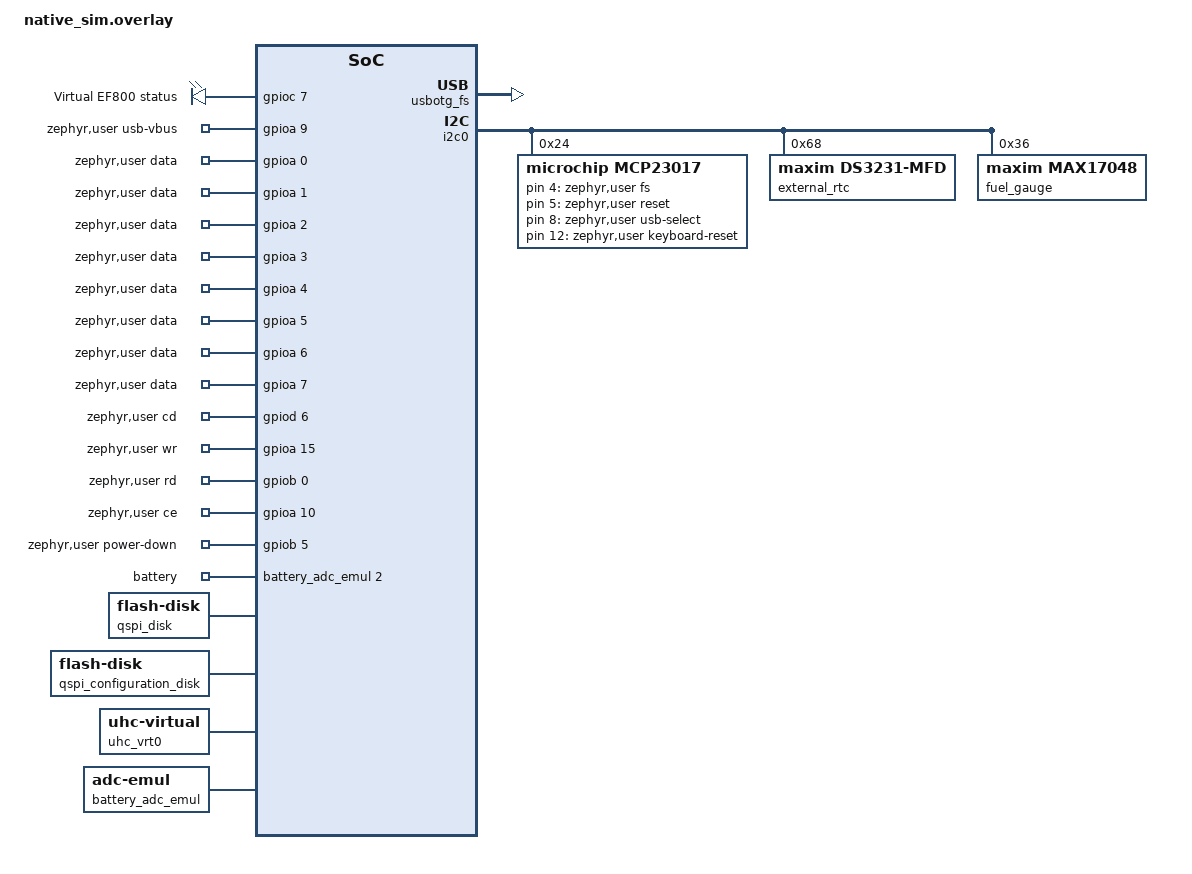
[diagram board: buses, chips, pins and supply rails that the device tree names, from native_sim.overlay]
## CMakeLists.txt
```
# SPDX-License-Identifier: Apache-2.0
cmake_minimum_required(VERSION 3.28.0)

set(BOARD_ROOT ${CMAKE_CURRENT_LIST_DIR}/../..)
set(DTS_ROOT ${CMAKE_CURRENT_LIST_DIR}/../..)
set(PLUGIN_MANAGER_DIR "${CMAKE_CURRENT_LIST_DIR}/../../../modules/lib/PluginManager" CACHE PATH
	"PluginManager source directory")
if(NOT EXISTS "${PLUGIN_MANAGER_DIR}/zephyr/module.yml")
	message(FATAL_ERROR "PLUGIN_MANAGER_DIR is not a PluginManager source tree")
endif()
list(APPEND ZEPHYR_EXTRA_MODULES "${PLUGIN_MANAGER_DIR}")
set(KCONFIG_ROOT ${CMAKE_CURRENT_LIST_DIR}/Kconfig)

if(BOARD STREQUAL "native_sim")
	set(DTC_OVERLAY_FILE ${CMAKE_CURRENT_LIST_DIR}/native_sim.overlay)
else()
	set(DTC_OVERLAY_FILE
		${CMAKE_CURRENT_LIST_DIR}/app.overlay
		${CMAKE_CURRENT_LIST_DIR}/boards/ef800-sram.overlay)
endif()

find_package(Zephyr REQUIRED HINTS $ENV{ZEPHYR_BASE})
project(ef800_main)

if(CONFIG_EF800_MAIN_PLUGIN_RECOVERY_TEST_DIRECTORY)
	# The recovery-test volume contains exactly the fault and healthy fixtures.
	# Keep PluginManager's otherwise-large default discovery table bounded in
	# this dedicated image so it fits the L496 malloc arena.
	zephyr_compile_definitions(PM_MANAGER_MAX_DISCOVERED=9)
	elseif(BOARD STREQUAL "ef800")
	# Keep PluginManager's fixed discovery table bounded while supporting the
	# two serial instruments and the port-free dummy calculation package.
	zephyr_compile_definitions(PM_MANAGER_MAX_DISCOVERED=3)
endif()

include(${CMAKE_CURRENT_LIST_DIR}/ef800-main-sources.cmake)
list(LENGTH EF800_MAIN_COMMON_SOURCES EF800_MAIN_COMMON_SOURCE_COUNT)
message(STATUS "EF800 common production source manifest: ${EF800_MAIN_COMMON_SOURCE_COUNT} sources")
target_sources(app PRIVATE ${EF800_MAIN_COMMON_SOURCES})
target_include_directories(app PRIVATE ${EF800_MAIN_COMMON_INCLUDE_DIRS})

if(BOARD STREQUAL "native_sim")
	target_compile_definitions(app PRIVATE PM_MANAGER_MAX_DISCOVERED=16)
	set(CGROM_SOURCE ${CMAKE_CURRENT_LIST_DIR}/../../docs/CG_RAM0101.txt)
	set(CGROM_HEADER ${CMAKE_CURRENT_BINARY_DIR}/generated/cgrom_0101.h)
	add_custom_command(
		OUTPUT ${CGROM_HEADER}
		COMMAND ${Python3_EXECUTABLE} ${CMAKE_CURRENT_LIST_DIR}/../tlx-711a/tools/generate_cgrom.py
			${CGROM_SOURCE} ${CGROM_HEADER}
		DEPENDS ${CGROM_SOURCE} ${CMAKE_CURRENT_LIST_DIR}/../tlx-711a/tools/generate_cgrom.py
	)
	add_custom_target(ef800_main_cgrom DEPENDS ${CGROM_HEADER})
	add_dependencies(app ef800_main_cgrom)
	target_include_directories(app PRIVATE ${CMAKE_CURRENT_BINARY_DIR}/generated)

		target_sources(app PRIVATE
		${CMAKE_CURRENT_LIST_DIR}/../../shared/ef800_ports/ef800_console_usb.c
		${CMAKE_CURRENT_LIST_DIR}/../../shared/ef800_ports/ef800_main_usb_msc_native.c
		${CMAKE_CURRENT_LIST_DIR}/../../shared/ef800_ports/ef800_main_usb_mtp.c
		${CMAKE_CURRENT_LIST_DIR}/../../shared/virtual_ef800/usb/virtual_ef800_usb_peer.c
		${CMAKE_CURRENT_LIST_DIR}/../../shared/ef800_watchdog/ef800_watchdog_native.c
		${CMAKE_CURRENT_LIST_DIR}/../../shared/virtual_ef800/keyboard/virtual_ef800_keyboard_controller.c
		${CMAKE_CURRENT_LIST_DIR}/../../shared/virtual_ef800/gpio/virtual_ef800_mcp23017.c
		${CMAKE_CURRENT_LIST_DIR}/../../shared/virtual_ef800/rtc/virtual_ef800_ds3231.c
		${CMAKE_CURRENT_LIST_DIR}/../../shared/virtual_ef800/gpio/virtual_ef800_gpio_emul.c
		${CMAKE_CURRENT_LIST_DIR}/../../shared/virtual_ef800/display/virtual_ef800_t6963_bus.c
		${CMAKE_CURRENT_LIST_DIR}/../../shared/virtual_ef800/gpio/virtual_ef800_wiring.c
		${CMAKE_CURRENT_LIST_DIR}/../../shared/virtual_ef800/frontpanel/virtual_ef800_frontpanel_bridge.c
		${CMAKE_CURRENT_LIST_DIR}/../../shared/virtual_ef800/serial/virtual_ef800_serial_peers.c
		${CMAKE_CURRENT_LIST_DIR}/../../shared/virtual_ef800/profile/virtual_ef800_profile.c
		${CMAKE_CURRENT_LIST_DIR}/../../shared/virtual_ef800/battery/virtual_ef800_battery.c
		${CMAKE_CURRENT_LIST_DIR}/../../shared/virtual_ef800/display/virtual_ef800_display.c
		${CMAKE_CURRENT_LIST_DIR}/../../shared/virtual_ef800/frontpanel/virtual_ef800_frontpanel.c
		${CMAKE_CURRENT_LIST_DIR}/../../shared/virtual_ef800/log/virtual_ef800_log.c
		${CMAKE_CURRENT_LIST_DIR}/../../shared/virtual_ef800/protocol/virtual_ef800_protocol.c
		${CMAKE_CURRENT_LIST_DIR}/../../shared/virtual_ef800/keyboard/virtual_ef800_keyboard.c
		${CMAKE_CURRENT_LIST_DIR}/../../application/ef800-keyboard/src/keyboard_key_names.c
		${CMAKE_CURRENT_LIST_DIR}/../../application/tlx-711a/src/t6963_emulator.c
	)
	target_include_directories(app PRIVATE
		${CMAKE_CURRENT_LIST_DIR}/../../shared/virtual_ef800
		${CMAKE_CURRENT_LIST_DIR}/../../shared/virtual_ef800/keyboard
		${CMAKE_CURRENT_LIST_DIR}/../../shared/virtual_ef800/display
		${CMAKE_CURRENT_LIST_DIR}/../../shared/virtual_ef800/frontpanel
		${CMAKE_CURRENT_LIST_DIR}/../../shared/virtual_ef800/log
		${CMAKE_CURRENT_LIST_DIR}/../../shared/virtual_ef800/protocol
		${CMAKE_CURRENT_LIST_DIR}/../../application/ef800-keyboard/src
		${CMAKE_CURRENT_LIST_DIR}/../../application/tlx-711a/src
		${CMAKE_CURRENT_LIST_DIR}/../../shared/virtual_ef800/usb
		${CMAKE_CURRENT_LIST_DIR}/../../shared/virtual_ef800/battery
		${CMAKE_CURRENT_LIST_DIR}/../../shared/virtual_ef800/core
		${CMAKE_CURRENT_LIST_DIR}/../../shared/virtual_ef800/gpio
		${CMAKE_CURRENT_LIST_DIR}/../../shared/virtual_ef800/profile
		${CMAKE_CURRENT_LIST_DIR}/../../shared/virtual_ef800/rtc
		${CMAKE_CURRENT_LIST_DIR}/../../shared/virtual_ef800/serial
		${ZEPHYR_BASE}/subsys/usb/host
	)
else()
	target_sources(app PRIVATE
		${CMAKE_CURRENT_LIST_DIR}/../../shared/ef800_lcd_contrast/ef800_lcd_contrast_stm32.c
		${CMAKE_CURRENT_LIST_DIR}/../../shared/ef800_ports/ef800_console_usb.c
		${CMAKE_CURRENT_LIST_DIR}/../../shared/ef800_ports/ef800_main_usb_msc.c
		${CMAKE_CURRENT_LIST_DIR}/../../shared/ef800_ports/ef800_main_usb_mtp.c
		${CMAKE_CURRENT_LIST_DIR}/../../shared/ef800_watchdog/ef800_watchdog.c
	)
endif()
```

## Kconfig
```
# SPDX-License-Identifier: Apache-2.0

menu "EF800 MainApplication foundation"

config EF800_MAIN_PLUGIN_DEV_DIRECT_EXECUTION
	bool "Allow trusted development plugins to execute inline"
	default n
	help
	  Keep the legacy inline callback executor available for native_sim and
	  explicitly trusted development packages. This is not an isolation mode.
	  Production external package execution must remain disabled until the
	  unprivileged worker and mediated service gateway are enabled and qualified.

config EF800_MAIN_PLUGIN_WORKER_STACK_SIZE
	int "Plugin worker stack size"
	default 2048
	range 1024 8192
	depends on USERSPACE || BOARD_NATIVE_SIM
	help
	  Stack allocation for the single serialized external-plugin worker. The
	  physical EF800 worker receives MPU protection; native_sim uses this same
	  worker ABI without hardware-enforced memory isolation.

config EF800_MAIN_PLUGIN_USER_WORKER
	bool "Run external plugins on the worker ABI"
	default y if BOARD_NATIVE_SIM
	default n
	depends on ((BOARD_EF800 && USERSPACE) || BOARD_NATIVE_SIM) && \
		!EF800_MAIN_PLUGIN_DEV_DIRECT_EXECUTION
	help
	  Execute external plugin callbacks through the versioned worker ABI and
	  mediated host services. EF800 additionally runs the worker unprivileged
	  with MPU-constrained memory; native_sim emulates the worker protocol but
	  does not provide MPU isolation. This is not package-authenticity or release
	  qualification.

config EF800_MAIN_SRAM_TEST_FAIL
	bool "Force external SRAM validation failure for fallback testing"
	default n
	depends on BOARD_EF800
	help
	  Test-only fault injection. Forces the startup validator to reject external
	  SRAM so the internal-only startup path can be exercised on target. Never
	  enable in a product image.

config EF800_MAIN_FORCE_CONSOLE_FALLBACK
	bool "Force fallback console during assignment repair testing"
	default n
	depends on BOARD_EF800
	help
	  Test-only recovery option. Keeps the console on its configured fallback
	  UART while persisted port assignments are repaired. Never enable in a
	  product image.

config EF800_MAIN_PLUGIN_RECOVERY_TEST_DIRECTORY
	bool "Scan the recovery-test package directory in Shared Data"
	default n
	depends on EF800_MAIN_PLUGIN_USER_WORKER
	help
	  Test-only override that scans /DATA:/data/EF800-recovery-test instead of
	  the normal Plugins directory. Use only with a dedicated recovery-test
	  image and synthetic packages; never enable in a product build.

config EF800_MAIN_PROBE_FUEL_GAUGE_AT_STARTUP
	bool "Probe MAX17048 once from runtime battery sampling"
	default y
	help
		Perform one deferred fuel-gauge probe from the runtime battery worker
		after MainApplication initialization. A missing gauge is left unavailable
		until restart; it is not retried during the current boot. Disable this
		when the target has no supported fuel-gauge source.

config EF800_MAIN_STORAGE_FORMAT_ON_MOUNT_FAILURE
	bool "Format the QSPI storage after a mount failure"
	default n

config EF800_MAIN_KEYBOARD_STARTUP_TIMEOUT_MS
	int "Keyboard startup timeout (ms)"
	default 3000
	range 1 60000
	help
	  Maximum time the MainApplication waits for the keyboard's initialized
	  indication before continuing with the rest of the foundation.

config EF800_MAIN_WATCHDOG_TIMEOUT_MS
	int "Watchdog timeout (ms)"
	default 1000
	range 1 26214
	help
	  Maximum watchdog window used by the foundation watchdog task.

config EF800_MAIN_WATCHDOG_FEED_MS
	int "Watchdog feed period (ms)"
	default 100
	range 1 26214
	help
	  Period between watchdog feeds. Keep this below the watchdog timeout.

config EF800_MAIN_WATCHDOG_STACK_SIZE
	int "Watchdog task stack size"
	default 768
	range 512 4096

config EF800_USB_VID
	hex "MainApplication USB vendor ID"
	default 0x2fe3

config EF800_USB_PID
	hex "MainApplication USB product ID"
	default 0xef81

config EF800_MAIN_LCD_STATUS_TIMEOUT_US
	int "T6963 status polling timeout (us)"
	default 1000
	range 100 100000
	help
	  Maximum time spent polling the T6963 ready bits for one bus operation.
	  A bounded timeout keeps a missing or disconnected LCD from blocking the
	  MainApplication forever.

config EF800_MAIN_RUNTIME_RTC_PERIOD_MS
	int "Runtime RTC sample period (ms)"
	default 1000
	range 100 60000

config EF800_MAIN_RUNTIME_BATTERY_PERIOD_MS
	int "Runtime battery sample period (ms)"
	default 10000
	range 1000 600000

config EF800_MAIN_STORAGE_FORMAT_ON_MOUNT_FAILURE
	bool "Format storage after mount failure"
	default n
	help
	  Format and retry the EF800 FAT volume when the initial mount fails.
	  Keep disabled for physical targets so a mount failure never formats a
	  fitted volume. Native simulation may enable this for disposable storage.

config EF800_MAIN_REFORMAT_LEGACY_QSPI
	bool "Reformat a detected legacy QSPI layout"
	default n
	help
	  If the QSPI sector-zero signature identifies the prior monolithic FAT
	  layout, format the new Configuration and Shared Data FAT partitions and
	  initialize the boot-state NVS partition. This destroys all contents of
	  the old volume. Enable only on development targets known to contain no
	  required data; keep disabled for production firmware.

config EF800_MAIN_FORMAT_BLANK_QSPI
	bool "Provision FAT volumes on an erased QSPI device"
	default n
	depends on FS_FATFS_MKFS
	help
	  On development hardware only, create the Configuration and Shared Data
	  FAT volumes when neither FAT partition contains a valid boot sector. The
	  formatter verifies both raw boot sectors before erasing boot-state NVS or
	  allowing normal mounts. This destroys unrecognized contents; disable for
	  production firmware.

config EF800_MCUMGR_SERIAL_TRANSPORT
	bool
	default y
	select MCUMGR_TRANSPORT_SERIAL_HAS_RAW_BINARY_NON_SMP_OVER_CONSOLE

endmenu

source "Kconfig.zephyr"
```

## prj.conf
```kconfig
# SPDX-License-Identifier: Apache-2.0
CONFIG_GPIO=y
CONFIG_SERIAL=y
CONFIG_UART_INTERRUPT_DRIVEN=y
CONFIG_UART_USE_RUNTIME_CONFIGURE=y
CONFIG_FLASH=y
CONFIG_FLASH_MAP=y
CONFIG_FLASH_PAGE_LAYOUT=y
CONFIG_DISK_DRIVERS=y
CONFIG_DISK_DRIVER_FLASH=y
CONFIG_FILE_SYSTEM=y
CONFIG_FAT_FILESYSTEM_ELM=y
CONFIG_FS_FATFS_LFN=y
CONFIG_FS_FATFS_LFN_MODE_STACK=y
CONFIG_FS_FATFS_REENTRANT=y
CONFIG_NVS=y
CONFIG_NVS_DATA_CRC=y
CONFIG_I2C=y
CONFIG_ADC=y
CONFIG_GPIO_MCP230XX=y
CONFIG_MFD=y
CONFIG_RTC_DS3231=y
CONFIG_WATCHDOG=y
CONFIG_RTC=y
CONFIG_SHELL=y
CONFIG_SHELL_BACKEND_SERIAL=n
CONFIG_SHELL_STACK_SIZE=8192
CONFIG_NET_BUF=y
CONFIG_ZCBOR=y
CONFIG_BASE64=y
CONFIG_CRC=y
CONFIG_PLUGIN_MANAGER=y
CONFIG_PLUGIN_MANAGER_ZEPHYR_FS=y
CONFIG_APPLICATION_DEFINED_SYSCALL=y
CONFIG_MCUMGR=y
CONFIG_MCUMGR_GRP_FS=y
CONFIG_MCUMGR_TRANSPORT_SHELL=y
CONFIG_MCUMGR_TRANSPORT_NETBUF_SIZE=512
CONFIG_MCUMGR_TRANSPORT_NETBUF_COUNT=8
CONFIG_MCUMGR_GRP_FS_PATH_LEN=64
CONFIG_MAIN_STACK_SIZE=8192
CONFIG_REBOOT=y

# Zephyr logging uses the board console (USART1); the keyboard protocol stays
# on the separate lpuart1 link.
CONFIG_LOG=y
CONFIG_UART_CONSOLE=n
CONFIG_LOG_BACKEND_UART=n
CONFIG_LOG_MODE_IMMEDIATE=y
CONFIG_BOOT_BANNER=y
CONFIG_LOG_DEFAULT_LEVEL=3

# The service never formats the external FAT volume on a mount failure.
CONFIG_FS_FATFS_MOUNT_MKFS=n
CONFIG_EF800_MAIN_STORAGE_FORMAT_ON_MOUNT_FAILURE=y
CONFIG_FILE_SYSTEM_MKFS=y
CONFIG_FS_FATFS_MKFS=y
# Development migration only; set to n before producing production firmware.
CONFIG_EF800_MAIN_REFORMAT_LEGACY_QSPI=y

# The keyboard link is a binary protocol, not a console.
```

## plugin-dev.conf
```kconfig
# SPDX-License-Identifier: Apache-2.0
# DEVELOPMENT-ONLY: permits trusted local PluginManager packages to execute
# inline while the isolated worker/W^X and package-signature gates are pending.
# This is not an isolation boundary. Never use with untrusted PMP files.
CONFIG_EF800_MAIN_PLUGIN_DEV_DIRECT_EXECUTION=y
CONFIG_ARM_MPU=n
CONFIG_MPU_STACK_GUARD=n
```

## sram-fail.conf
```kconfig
# Test-only MainApplication profile for on-target external-SRAM fallback checks.
CONFIG_EF800_MAIN_SRAM_TEST_FAIL=y
CONFIG_EF800_MAIN_FORCE_CONSOLE_FALLBACK=y
```

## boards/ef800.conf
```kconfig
# SPDX-License-Identifier: Apache-2.0
CONFIG_USB_DEVICE_STACK_NEXT=y
CONFIG_USBD_MSC_CLASS=y
CONFIG_USBD_MSC_LUNS_PER_INSTANCE=1
CONFIG_USBD_MSC_SCSI_BUFFER_SIZE=512
CONFIG_USBD_CDC_ACM_CLASS=y
CONFIG_USBD_MTP_CLASS=y
CONFIG_USBD_MTP_MAX_HANDLES=12
CONFIG_USBD_MTP_STORAGES_PER_INSTANCE=3
CONFIG_USBD_THREAD_STACK_SIZE=4096
CONFIG_EF800_USB_VID=0x2fe3
CONFIG_EF800_USB_PID=0xef87
CONFIG_IWDG_STM32_INITIAL_TIMEOUT=10000
CONFIG_PINCTRL=y
CONFIG_CLOCK_CONTROL=y
CONFIG_MEMC=y
CONFIG_RESET=y
CONFIG_EF800_MAIN_WATCHDOG_TIMEOUT_MS=10000
CONFIG_EF800_MAIN_PROBE_FUEL_GAUGE_AT_STARTUP=y
CONFIG_USE_DT_CODE_PARTITION=y
CONFIG_USERSPACE=y
CONFIG_ARM_MPU=y
CONFIG_MPU_STACK_GUARD=y
CONFIG_HW_STACK_PROTECTION=y
CONFIG_EXECUTE_XOR_WRITE=y
CONFIG_THREAD_STACK_INFO=y
CONFIG_THREAD_MONITOR=y
CONFIG_INIT_STACKS=y
CONFIG_EXCEPTION_DEBUG=y
CONFIG_EF800_MAIN_PLUGIN_USER_WORKER=y
# PluginManager scans by allocating a complete package buffer. Reserve enough
# libc arena for the manager plus the current independently packaged devices.
CONFIG_COMMON_LIBC_MALLOC_ARENA_SIZE=32768
CONFIG_CONSOLE=n
```

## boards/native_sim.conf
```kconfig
# SPDX-License-Identifier: Apache-2.0
CONFIG_EMUL=y
CONFIG_UART_EMUL=y
CONFIG_I2C_EMUL=y
CONFIG_ADC_EMUL=y
CONFIG_FILE_SYSTEM_MKFS=y
CONFIG_FS_FATFS_MKFS=y
CONFIG_FUEL_GAUGE=y
CONFIG_MAX17048=y
CONFIG_EMUL_MAX17048=y
CONFIG_CONSOLE=y
CONFIG_USE_DT_CODE_PARTITION=n
CONFIG_EF800_MAIN_STORAGE_FORMAT_ON_MOUNT_FAILURE=y
CONFIG_HEAP_MEM_POOL_SIZE=65536
CONFIG_EF800_MAIN_PLUGIN_DEV_DIRECT_EXECUTION=n
CONFIG_EF800_MAIN_PLUGIN_USER_WORKER=y
CONFIG_USB_DEVICE_STACK_NEXT=y
CONFIG_USB_HOST_STACK=y
CONFIG_USBD_CDC_ACM_CLASS=y
CONFIG_USBD_MTP_CLASS=y
CONFIG_USBD_MTP_MAX_HANDLES=12
CONFIG_USBD_MTP_STORAGES_PER_INSTANCE=3
CONFIG_USBD_THREAD_STACK_SIZE=4096
CONFIG_USBH_STACK_SIZE=4096
CONFIG_UDC_VIRTUAL_STACK_SIZE=2048
```

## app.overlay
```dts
/ {
	chosen {
		zephyr,keyboard-uart = &lpuart1;
		zephyr,code-partition = &main_partition;
	};

	aliases {
		status-led = &status_led;
	};

	zephyr,user {
		/* USB VBUS detection controls the QSPI-to-MSC ownership handoff. */
		usb-vbus-gpios = <&gpioa 9 GPIO_ACTIVE_HIGH>;
		/* T6963 legacy parallel data bus, PA0..PA7. */
		data-gpios = <&gpioa 0 0>, <&gpioa 1 0>, <&gpioa 2 0>,
				     <&gpioa 3 0>, <&gpioa 4 0>, <&gpioa 5 0>,
				     <&gpioa 6 0>, <&gpioa 7 0>;
		cd-gpios = <&gpiod 6 0>;
		wr-gpios = <&gpioa 15 0>;
		rd-gpios = <&gpiob 0 0>;
		ce-gpios = <&gpioa 10 0>;
		fs-gpios = <&mcp23017 4 0>;
		reset-gpios = <&mcp23017 5 0>;
		pixels-horizontal = <240>;
		pixels-vertical = <64>;
		font-width = <6>;
		memory-kb = <8>;
		usb-select-gpios = <&mcp23017 8 0>;
		keyboard-reset-gpios = <&mcp23017 12 0>;
		/* JP7 to keyboard PB12; assert low only for bootloader fallback. */
		keyboard-updater-request-gpios = <&gpioe 0 GPIO_ACTIVE_LOW>;
		power-down-gpios = <&gpiob 5 0>;
		io-channels = <&adc1 2>;
		io-channel-names = "battery";
	};
};

#include <zephyr/dt-bindings/pinctrl/stm32-pinctrl.h>
#include <zephyr/dt-bindings/gpio/gpio.h>
#include <zephyr/dt-bindings/adc/adc.h>

&pinctrl {
	battery_adc_pc1: battery_adc_pc1 {
		pinmux = <STM32_PINMUX('C', 1, ANALOG)>;
		bias-disable;
	};

	usart1_tx_pb6: usart1_tx_pb6 {
		pinmux = <STM32_PINMUX('B', 6, AF7)>;
		bias-pull-up;
		drive-push-pull;
	};

	usart1_rx_pb7: usart1_rx_pb7 {
		pinmux = <STM32_PINMUX('B', 7, AF7)>;
		bias-pull-up;
	};

	usart3_tx_pd8: usart3_tx_pd8 {
		pinmux = <STM32_PINMUX('D', 8, AF7)>;
		bias-pull-up;
		drive-push-pull;
	};

	usart3_rx_pd9: usart3_rx_pd9 {
		pinmux = <STM32_PINMUX('D', 9, AF7)>;
		bias-pull-up;
	};

	lpuart1_tx_pg7: lpuart1_tx_pg7 {
		pinmux = <STM32_PINMUX('G', 7, AF8)>;
		bias-pull-up;
		drive-push-pull;
	};

	lpuart1_rx_pc0: lpuart1_rx_pc0 {
		pinmux = <STM32_PINMUX('C', 0, AF8)>;
		bias-pull-up;
	};

	quadspi_clk_pf10: quadspi_clk_pf10 {
		pinmux = <STM32_PINMUX('F', 10, AF3)>;
	};

	quadspi_bk1_ncs_pe11: quadspi_bk1_ncs_pe11 {
		pinmux = <STM32_PINMUX('E', 11, AF10)>;
	};

	quadspi_bk1_io0_pf8: quadspi_bk1_io0_pf8 {
		pinmux = <STM32_PINMUX('F', 8, AF10)>;
	};

	quadspi_bk1_io1_pf9: quadspi_bk1_io1_pf9 {
		pinmux = <STM32_PINMUX('F', 9, AF10)>;
	};

	quadspi_bk1_io2_pf7: quadspi_bk1_io2_pf7 {
		pinmux = <STM32_PINMUX('F', 7, AF10)>;
	};

	quadspi_bk1_io3_pf6: quadspi_bk1_io3_pf6 {
		pinmux = <STM32_PINMUX('F', 6, AF10)>;
	};

	usb_otg_fs_dm_pa11: usb_otg_fs_dm_pa11 {
		pinmux = <STM32_PINMUX('A', 11, AF10)>;
	};

	usb_otg_fs_dp_pa12: usb_otg_fs_dp_pa12 {
		pinmux = <STM32_PINMUX('A', 12, AF10)>;
	};

};

&adc1 {
	pinctrl-0 = <&battery_adc_pc1>;
	pinctrl-names = "default";
	st,adc-clock-source = "SYNC";
	st,adc-prescaler = <4>;
	status = "okay";
	#address-cells = <1>;
	#size-cells = <0>;

	channel@2 {
		reg = <2>;
		zephyr,gain = "ADC_GAIN_1";
		zephyr,reference = "ADC_REF_INTERNAL";
		zephyr,acquisition-time = <ADC_ACQ_TIME_MAX>;
		zephyr,resolution = <12>;
	};
};

&clk_hse {
	clock-frequency = <DT_FREQ_M(25)>;
	status = "okay";
};

&clk_hsi {
	status = "disabled";
};

&pll {
	div-m = <5>;
	mul-n = <32>;
	div-p = <2>;
	div-q = <2>;
	div-r = <2>;
	clocks = <&clk_hse>;
	status = "okay";
};

&rcc {
	clocks = <&pll>;
	clock-frequency = <DT_FREQ_M(80)>;
	ahb-prescaler = <1>;
	apb1-prescaler = <1>;
	apb2-prescaler = <1>;
};

&usbotg_fs {
	pinctrl-0 = <&usb_otg_fs_dm_pa11 &usb_otg_fs_dp_pa12>;
	pinctrl-names = "default";
	status = "okay";

	cdc_acm_uart0: cdc_acm_uart0 {
		compatible = "zephyr,cdc-acm-uart";
		label = "EF800 USB CDC ACM";
		rx-fifo-size = <256>;
		tx-fifo-size = <256>;
	};
};

/* Use the standard Zephyr DS3231 MFD/RTC split without changing the board DTS. */
&external_rtc {
	compatible = "maxim,ds3231-mfd";
	status = "okay";

	ef800_rtc: rtc {
		compatible = "maxim,ds3231-rtc";
		/* Required by the standard binding; alarms/updates stay disabled. */
		isw-gpios = <&gpioc 6 GPIO_ACTIVE_LOW>;
		status = "okay";
	};
};
```

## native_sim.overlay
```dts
#include <zephyr/dt-bindings/adc/adc.h>

/ {
	chosen {
		zephyr,keyboard-uart = &lpuart1;
		zephyr,code-partition = &slot0_partition;
	};

	aliases {
		status-led = &status_led;
	};

	leds {
		compatible = "gpio-leds";

		status_led: status_led {
			gpios = <&gpioc 7 GPIO_ACTIVE_HIGH>;
			label = "Virtual EF800 status";
		};
	};

	zephyr,user {
		usb-vbus-gpios = <&gpioa 9 GPIO_ACTIVE_HIGH>;
		data-gpios = <&gpioa 0 0>, <&gpioa 1 0>, <&gpioa 2 0>,
				     <&gpioa 3 0>, <&gpioa 4 0>, <&gpioa 5 0>,
				     <&gpioa 6 0>, <&gpioa 7 0>;
		cd-gpios = <&gpiod 6 0>;
		wr-gpios = <&gpioa 15 0>;
		rd-gpios = <&gpiob 0 0>;
		ce-gpios = <&gpioa 10 0>;
		fs-gpios = <&mcp23017 4 0>;
		reset-gpios = <&mcp23017 5 0>;
		pixels-horizontal = <240>;
		pixels-vertical = <64>;
		font-width = <6>;
		memory-kb = <8>;
		usb-select-gpios = <&mcp23017 8 0>;
		keyboard-reset-gpios = <&mcp23017 12 0>;
		power-down-gpios = <&gpiob 5 0>;
		io-channels = <&battery_adc_emul 2>;
		io-channel-names = "battery";
	};

	gpioa: gpioa {
		compatible = "jaster,ef800-gpio-emul";
		gpio-controller;
		#gpio-cells = <2>;
		ngpios = <32>;
		rising-edge;
		falling-edge;
		high-level;
		low-level;
		status = "okay";
	};

	gpiob: gpiob {
		compatible = "jaster,ef800-gpio-emul";
		gpio-controller;
		#gpio-cells = <2>;
		ngpios = <32>;
		rising-edge;
		falling-edge;
		high-level;
		low-level;
		status = "okay";
	};

	gpioc: gpioc {
		compatible = "jaster,ef800-gpio-emul";
		gpio-controller;
		#gpio-cells = <2>;
		ngpios = <32>;
		rising-edge;
		falling-edge;
		high-level;
		low-level;
		status = "okay";
	};

	gpiod: gpiod {
		compatible = "jaster,ef800-gpio-emul";
		gpio-controller;
		#gpio-cells = <2>;
		ngpios = <32>;
		rising-edge;
		falling-edge;
		high-level;
		low-level;
		status = "okay";
	};

	qspi_disk: qspi_disk {
		compatible = "zephyr,flash-disk";
		partition = <&qspi_storage_partition>;
		disk-name = "DATA";
		sector-size = <512>;
		cache-size = <4096>;
		status = "okay";
	};

	qspi_configuration_disk: qspi_configuration_disk {
		compatible = "zephyr,flash-disk";
		partition = <&qspi_configuration_partition>;
		disk-name = "EF800";
		sector-size = <512>;
		cache-size = <4096>;
		status = "okay";
	};

	uhc_vrt0: uhc_vrt0 {
		compatible = "zephyr,uhc-virtual";
		status = "okay";

		usbotg_fs: usbotg_fs {
			compatible = "zephyr,udc-virtual";
			num-bidir-endpoints = <8>;
			maximum-speed = "full-speed";
			status = "okay";

			cdc_acm_uart0: cdc_acm_uart0 {
				compatible = "zephyr,cdc-acm-uart";
				label = "EF800 Virtual USB CDC ACM";
				rx-fifo-size = <256>;
				tx-fifo-size = <1024>;
				status = "okay";
			};
		};
	};

	lpuart1: lpuart1 {
		compatible = "zephyr,uart-emul";
		current-speed = <115200>;
		rx-fifo-size = <256>;
		tx-fifo-size = <256>;
		status = "okay";
	};

	usart1: usart1 {
		compatible = "zephyr,uart-emul";
		current-speed = <115200>;
		rx-fifo-size = <256>;
		tx-fifo-size = <256>;
		status = "okay";
	};

	usart3: usart3 {
		compatible = "zephyr,uart-emul";
		current-speed = <115200>;
		rx-fifo-size = <256>;
		tx-fifo-size = <256>;
		status = "okay";
	};

	uart4: uart4 {
		compatible = "zephyr,native-pty-uart";
		current-speed = <115200>;
		status = "okay";
	};

	battery_adc_emul: adc {
		compatible = "zephyr,adc-emul";
		nchannels = <3>;
		ref-internal-mv = <3300>;
		#io-channel-cells = <1>;
		status = "okay";

		#address-cells = <1>;
		#size-cells = <0>;

		channel@2 {
			reg = <2>;
			zephyr,gain = "ADC_GAIN_1";
			zephyr,reference = "ADC_REF_INTERNAL";
			zephyr,vref-mv = <3300>;
			zephyr,acquisition-time = <ADC_ACQ_TIME_MAX>;
			zephyr,resolution = <12>;
		};
	};

};

&i2c0 {
	mcp23017: gpio@24 {
		compatible = "microchip,mcp23017";
		reg = <0x24>;
		gpio-controller;
		#gpio-cells = <2>;
		ngpios = <16>;
		status = "okay";
	};

	external_rtc: rtc@68 {
		compatible = "maxim,ds3231-mfd";
		reg = <0x68>;
		status = "okay";

		ef800_rtc: rtc {
			compatible = "maxim,ds3231-rtc";
			isw-gpios = <&gpioa 6 GPIO_ACTIVE_LOW>;
			status = "okay";
		};
	};

	fuel_gauge: fuel-gauge@36 {
		compatible = "maxim,max17048";
		reg = <0x36>;
		status = "okay";
	};
};

/* Model the 4 MiB QSPI as scaled volumes in the native-sim flash image. */
/delete-node/ &storage_partition;

&flash0 {
	partitions {
		metadata_partition: qspi_bootstate_partition: partition@fc000 {
			compatible = "zephyr,mapped-partition";
			label = "qspi-boot-state";
			reg = <0x000fc000 0x00008000>;
		};

		qspi_configuration_partition: partition@104000 {
			compatible = "zephyr,mapped-partition";
			label = "qspi-configuration";
			reg = <0x00104000 0x00018000>;
		};

		qspi_storage_partition: partition@11c000 {
			compatible = "zephyr,mapped-partition";
			label = "qspi-shared-data";
			reg = <0x0011c000 0x00060000>;
		};
	};
};
```

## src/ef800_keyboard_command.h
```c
/* SPDX-License-Identifier: Apache-2.0 */
/** @file
 * @brief Serialize keyboard UART commands and match asynchronous responses.
 */
#ifndef EF800_KEYBOARD_COMMAND_H
#define EF800_KEYBOARD_COMMAND_H

#include <stdbool.h>
#include <stddef.h>
#include <stdint.h>

#include <zephyr/device.h>
#include <zephyr/kernel.h>

#include "keyboard_host.h"

#define EF800_KEYBOARD_COMMAND_TIMEOUT_MS 1000U

struct ef800_keyboard_command {
	const struct device *uart;
	struct ef800_keyboard_host *host;
	struct k_mutex mutex;
	struct k_sem complete;
	volatile bool pending;
	volatile uint8_t pending_command;
	bool uart_initialized;
};

/** @brief Initialize command state, synchronization objects, and UART binding.
 * @param command State to initialize.
 * @param uart Keyboard UART device.
 * @param host Keyboard protocol state receiving parsed responses.
 * @return None; NULL command is ignored.
 */
void ef800_keyboard_command_init(struct ef800_keyboard_command *command,
				 const struct device *uart,
				 struct ef800_keyboard_host *host);
/** @brief Set whether the UART adapter has been configured for transmission.
 * @param command Command state to update.
 * @param ready True when UART setup and RX are active.
 * @return None.
 */
void ef800_keyboard_command_set_uart_ready(
	struct ef800_keyboard_command *command, bool ready);
/** @brief Lock the serialized command channel until it becomes available.
 * @param command Command state to lock; NULL is ignored.
 * @return None.
 */
void ef800_keyboard_command_lock(struct ef800_keyboard_command *command);
/** @brief Release the serialized command channel.
 * @param command Command state to unlock; NULL is ignored.
 * @return None.
 */
void ef800_keyboard_command_unlock(struct ef800_keyboard_command *command);
/** @brief Check whether a keyboard-version command is awaiting its response.
 * @param command Command state to inspect.
 * @return True when the pending command requests the version.
 */
bool ef800_keyboard_command_waiting_for_version(
	const struct ef800_keyboard_command *command);
/** @brief Signal completion when a received response matches the pending request.
 * @param command Command state receiving the response.
 * @param response_command Command identifier from the parsed response.
 * @return None; unrelated responses do not signal completion.
 */
void ef800_keyboard_command_response(struct ef800_keyboard_command *command,
				     uint8_t response_command);
/** @brief Send one serialized request and wait for its protocol response.
 * @param command Initialized command state.
 * @param request Request command byte.
 * @param payload Optional request payload.
 * @param payload_length Number of payload bytes.
 * @return 0 on acknowledged response; negative errno on unavailable UART,
 *         timeout, malformed response, or keyboard rejection.
 */
int ef800_keyboard_command_send(struct ef800_keyboard_command *command,
				uint8_t request,
				const uint8_t *payload, size_t payload_length);
/** @brief Send a named virtual-key event while keyboard debug mode is active.
 * @param command Initialized command state.
 * @param debug_active Whether debug mode currently owns key input.
 * @param action Virtual-key press/release action.
 * @param name Key name to send.
 * @return 0 on send; negative errno on inactive debug mode, invalid name, or
 *         unavailable UART.
 */
int ef800_keyboard_command_send_virtual_key(
	struct ef800_keyboard_command *command, bool debug_active,
	uint8_t action, const char *name);

#endif /* EF800_KEYBOARD_COMMAND_H */
```

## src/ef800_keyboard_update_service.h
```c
/* SPDX-License-Identifier: Apache-2.0 */
/** @file
 * @brief Validate keyboard packages and run bounded updater transactions over I2C.
 */
#ifndef EF800_KEYBOARD_UPDATE_SERVICE_H
#define EF800_KEYBOARD_UPDATE_SERVICE_H

#include <stddef.h>
#include <stdbool.h>
#include <stdint.h>

#include <zephyr/device.h>
#include <zephyr/fs/fs.h>

#include "ef800_keyboard_package.h"

struct ef800_keyboard_update_plan {
	uint32_t image_base;
	size_t image_limit;
	uint16_t target;
	uint16_t service_address;
};

struct ef800_keyboard_update_transaction {
	const struct device *i2c;
	const char *package_path;
	/* Set true during the transaction and cleared on every exit path. */
	bool *active;
	/* Opaque argument passed to every platform callback below. */
	void *context;
	/* Return true when the package storage is mounted / USB MSC is requested. */
	bool (*storage_mounted)(void *context);
	bool (*usb_msd_requested)(void *context);
	/* Enter resident/fallback updater or wait for service/application readiness. */
	int (*enter_resident_updater)(void *context);
	int (*wait_application_service)(void *context);
	int (*identify)(void *context, uint16_t address);
	int (*enter_updater_fallback)(void *context, uint8_t *version);
	/* Wait for the application image described by header to become available. */
	int (*wait_application)(void *context,
		const struct ef800_keyboard_package_header *header);
};

/** @brief Map package image kind to its authorized partition and service address.
 * @param image_kind Application, bootloader, or updater package kind.
 * @param plan Receives the selected base, limit, target, and I2C address.
 * @return 0 on a recognized kind; -EINVAL for invalid arguments or kind.
 */
int ef800_keyboard_update_plan_select(uint8_t image_kind,
	struct ef800_keyboard_update_plan *plan);
/** @brief Validate, transfer, verify, and finalize the package at package_path.
 * @param transaction I2C, package, active-state, ownership, and platform callbacks.
 * @return 0 if no package exists or the update completes; negative errno when
 *         blocked, invalid, or any file/protocol/update stage fails.
 */
int ef800_keyboard_update_transaction_run(
	const struct ef800_keyboard_update_transaction *transaction);

/** @brief Validate a package header and CRC of its complete image payload.
 * @param file Open package file positioned arbitrarily; it is repositioned.
 * @param header Receives the validated package header.
 * @param file_size Total package file size in bytes.
 * @return 0 when valid; negative errno for malformed data, I/O, or CRC failure.
 */
int ef800_keyboard_update_read_package(
	struct fs_file_t *file, struct ef800_keyboard_package_header *header,
	size_t file_size);
/** @brief Send a framed updater command and poll for its bounded response.
 * @param i2c Ready I2C controller device.
 * @param address 7-bit updater service address.
 * @param command Updater command byte.
 * @param payload Optional command payload.
 * @param payload_length Payload size in bytes.
 * @param response Buffer receiving the complete framed response.
 * @param response_length Expected response size.
 * @param timeout_ms Maximum time to poll the target.
 * @return 0 for a valid response; negative errno on invalid data, NACK, I/O, or timeout.
 */
int ef800_keyboard_update_request(const struct device *i2c, uint16_t address,
	uint8_t command, const uint8_t *payload, size_t payload_length,
	uint8_t *response, size_t response_length, uint32_t timeout_ms);
/** @brief Query and validate the updater's fixed-size version response.
 * @param i2c Ready I2C controller device.
 * @param address 7-bit updater service address.
 * @param version Buffer receiving the version frame.
 * @param timeout_ms Maximum time for command and response retries.
 * @return 0 on a valid response; negative errno on I/O, malformed response, or timeout.
 */
int ef800_keyboard_update_query_version(const struct device *i2c,
	uint16_t address, uint8_t *version, uint32_t timeout_ms);
/** @brief Decode an unaligned little-endian 32-bit value.
 * @param data Pointer to at least four bytes.
 * @return Decoded unsigned value.
 */
uint32_t ef800_keyboard_update_get_le32(const uint8_t *data);
/** @brief Encode a 16-bit value in little-endian byte order.
 * @param data Destination buffer of at least two bytes.
 * @param value Value to encode.
 * @return None.
 */
void ef800_keyboard_update_put_le16(uint8_t *data, uint16_t value);
/** @brief Encode a 32-bit value in little-endian byte order.
 * @param data Destination buffer of at least four bytes.
 * @param value Value to encode.
 * @return None.
 */
void ef800_keyboard_update_put_le32(uint8_t *data, uint32_t value);

#endif /* EF800_KEYBOARD_UPDATE_SERVICE_H */
```

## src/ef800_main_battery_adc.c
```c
/* SPDX-License-Identifier: Apache-2.0 */
#include "ef800_main_battery_adc.h"

#include <errno.h>

#include <zephyr/devicetree.h>
#include <zephyr/drivers/adc.h>
#include <zephyr/kernel.h>

#ifdef CONFIG_BOARD_NATIVE_SIM
#include <zephyr/drivers/adc/adc_emul.h>
#include "virtual_ef800_profile.h"
#endif

#include "ef800_battery_adc_ring.h"
#include "ef800_battery_soc.h"

static const struct adc_dt_spec battery_adc =
	ADC_DT_SPEC_GET_BY_NAME(DT_PATH(zephyr_user), battery);

int ef800_main_battery_adc_init(struct ef800_main_battery_adc *battery,
	struct ef800_battery_soc_store *store, bool store_ready)
{
	int result;

	if (battery == NULL || store == NULL) {
		return -EINVAL;
	}
	*battery = (struct ef800_main_battery_adc){
		.store = store,
		.store_ready = store_ready,
	};
	result = adc_channel_setup_dt(&battery_adc);
	if (result == 0) {
		battery->adc_ready = true;
	}
	return result;
}

int ef800_main_battery_adc_read(void *context,
	struct ef800_max17043_status *status)
{
	struct ef800_main_battery_adc *battery = context;
	struct ef800_battery_soc_table table;
	struct adc_sequence sequence = {0};
	int16_t raw_sample;
	int32_t pin_mv;
	uint16_t filtered_pin_mv;
#ifdef CONFIG_BOARD_NATIVE_SIM
	uint16_t pin_mv_input;
#endif
	int result;

	if (battery == NULL || status == NULL || !battery->adc_ready ||
		!battery->store_ready) {
		return -ENODEV;
	}
	result = ef800_battery_soc_store_get_table(battery->store, &table);
	if (result != 0) {
		return result;
	}
#ifdef CONFIG_BOARD_NATIVE_SIM
	if (!virtual_ef800_profile_available(4U)) {
		return -ENODEV;
	}
	result = ef800_battery_pin_mv_from_soc(&table,
		virtual_ef800_profile_battery_soc(), &pin_mv_input);
	if (result != 0) {
		return result;
	}
	result = adc_emul_const_value_set(battery_adc.dev,
		battery_adc.channel_id, pin_mv_input);
	if (result != 0) {
		return result;
	}
#endif
	result = adc_sequence_init_dt(&battery_adc, &sequence);
	if (result != 0) {
		return result;
	}
	sequence.buffer = &raw_sample;
	sequence.buffer_size = sizeof(raw_sample);
	result = adc_read_dt(&battery_adc, &sequence);
	if (result != 0) {
		return result;
	}
	pin_mv = raw_sample;
	result = adc_raw_to_millivolts_dt(&battery_adc, &pin_mv);
	if (result != 0 || pin_mv < 0 ||
		pin_mv > (int32_t)EF800_BATTERY_SOC_ADC_MAX_MV) {
		return result != 0 ? result : -ERANGE;
	}
	result = ef800_battery_adc_ring_push(&battery->ring,
		(uint16_t)pin_mv, &filtered_pin_mv);
	if (result != 0) {
		return result;
	}
	result = ef800_battery_soc_from_pin_mv(&table, filtered_pin_mv,
		&status->soc_percent);
	if (result == 0) {
		status->voltage_uv = (uint32_t)filtered_pin_mv * 1000U;
	}
	return result;
}
```

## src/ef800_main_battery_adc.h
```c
/* SPDX-License-Identifier: Apache-2.0 */
/** @file
 * @brief Read and filter MainApplication battery ADC samples as SOC readings.
 */
#ifndef EF800_MAIN_BATTERY_ADC_H
#define EF800_MAIN_BATTERY_ADC_H

#include <stdbool.h>

#include "ef800_battery_soc_store.h"
#include "ef800_battery_adc_ring.h"
#include "ef800_max17043.h"

struct ef800_main_battery_adc {
	struct ef800_battery_soc_store *store;
	struct ef800_battery_adc_ring ring;
	bool store_ready;
	bool adc_ready;
};

/** @brief Bind the calibration store and configure the battery ADC channel.
 * @param battery Adapter state to initialize.
 * @param store Calibration table store used to convert voltage to SOC.
 * @param store_ready True when the calibration store is available.
 * @return 0 when ADC setup succeeds; negative errno on invalid input/setup error.
 */
int ef800_main_battery_adc_init(struct ef800_main_battery_adc *battery,
	struct ef800_battery_soc_store *store, bool store_ready);

/** @brief Sample, filter, and convert battery voltage into gauge status.
 * @param context Pointer to initialized battery ADC adapter state.
 * @param status Receives SOC percent and voltage in microvolts.
 * @return 0 on conversion; negative errno if ADC, calibration, or profile fails.
 */
int ef800_main_battery_adc_read(void *context,
	struct ef800_max17043_status *status);

#endif /* EF800_MAIN_BATTERY_ADC_H */
```

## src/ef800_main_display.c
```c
/* SPDX-License-Identifier: Apache-2.0 */
#include "ef800_plugin_host.h"
#include "ef800_main_display.h"
#include "ef800_workspace_browser.h"
#include "ef800_workspace_row_editor.h"

#include <errno.h>
#include <stdio.h>
#include <string.h>

#include <zephyr/sys/util.h>

void ef800_main_display_init(struct ef800_main_display *display,
			     struct ef800_t6963 *lcd, bool ready)
{
	if (display == NULL) {
		return;
	}
	memset(display, 0, sizeof(*display));
	display->lcd = lcd;
	display->ready = ready;
	display->last_battery_soc = UINT8_MAX;
}

void ef800_main_display_set_ready(struct ef800_main_display *display,
				  bool ready)
{
	if (display != NULL) {
		display->ready = ready;
	}
}

/** @brief Write a padded body row directly to the T6963 text plane.
 * @param display Display and LCD state.
 * @param row Text row to write.
 * @param text Source text, or empty text when NULL.
 * @return None; unavailable displays are ignored.
 */
static void display_raw_line(struct ef800_main_display *display, uint8_t row,
			     const char *text)
{
	char line[EF800_MAIN_DISPLAY_COLUMNS + 1U];
	int length;

	if (display == NULL || !display->ready || display->lcd == NULL) {
		return;
	}
	length = snprintf(line, sizeof(line), "%-40.40s", text == NULL ? "" : text);
	if (length < 0) {
		return;
	}
	(void)ef800_t6963_text_cursor(display->lcd, 0U, row);
	(void)ef800_t6963_write_string(display->lcd, line);
}

/** @brief Compose and draw the retained title and optional clock header.
 * @param display Display state containing the retained title.
 * @param title New title, or NULL to retain the current title.
 * @param clock_text Optional clock string.
 * @return None.
 */
static void display_header(struct ef800_main_display *display,
			   const char *title, const char *clock_text)
{
	char line[EF800_MAIN_DISPLAY_COLUMNS + 1U];
	size_t clock_length;

	if (display == NULL) {
		return;
	}

	memset(line, ' ', sizeof(line) - 1U);
	line[sizeof(line) - 1U] = '\0';
	if (title != NULL) {
		(void)snprintf(display->header_title, sizeof(display->header_title),
			"%.16s", title);
	}
	memcpy(line, display->header_title, strlen(display->header_title));
	clock_length = clock_text == NULL ? 0U : strlen(clock_text);
	if (clock_length > 5U) {
		clock_length = 5U;
	}
	if (clock_length != 0U) {
		memcpy(&line[17], clock_text, clock_length);
	}
	display_raw_line(display, 0U, line);
}

void ef800_main_display_line(struct ef800_main_display *display, uint8_t row,
			     const char *text, const char *clock_text)
{
	if (display == NULL) {
		return;
	}
	if (row == 0U) {
		display_header(display, text, clock_text);
	} else {
		display_raw_line(display, row, text);
	}
}

void ef800_main_display_clear(struct ef800_main_display *display,
			      const char *clock_text)
{
	for (uint8_t row = 0U; row < 8U; ++row) {
		ef800_main_display_line(display, row, "", clock_text);
	}
}

int ef800_main_display_draw_header_separator(
	struct ef800_main_display *display)
{
	if (display == NULL || !display->ready || display->lcd == NULL) {
		return -ENODEV;
	}
	return ef800_t6963_draw_horizontal_line(display->lcd, 8U);
}

/** @brief Draw the battery outline and fill level for the supplied SOC.
 * @param display Ready display state.
 * @param soc Battery state of charge in percent.
 * @return None.
 */
static void draw_battery_icon(struct ef800_main_display *display, uint8_t soc)
{
	static const uint16_t outline[][2] = {
		{228U, 1U}, {229U, 1U}, {230U, 1U}, {231U, 1U},
		{232U, 1U}, {233U, 1U}, {228U, 2U}, {233U, 2U},
		{234U, 2U}, {228U, 3U}, {234U, 3U}, {228U, 4U},
		{233U, 4U}, {234U, 4U}, {228U, 5U}, {229U, 5U},
		{230U, 5U}, {231U, 5U}, {232U, 5U}, {233U, 5U},
	};

	for (size_t index = 0U; index < ARRAY_SIZE(outline); ++index) {
		(void)ef800_t6963_write_pixel(display->lcd, outline[index][0],
			outline[index][1], true);
	}
	for (uint16_t x = 229U; x <= 233U; ++x) {
		bool filled = soc > (uint8_t)((x - 228U) * 20U);

		for (uint16_t y = 2U; y <= 4U; ++y) {
			(void)ef800_t6963_write_pixel(display->lcd, x, y, filled);
		}
	}
	for (uint16_t y = 2U; y <= 4U; ++y) {
		(void)ef800_t6963_write_pixel(display->lcd, 233U, y, soc > 95U);
	}
}

/** @brief Clear all pixels occupied by the battery icon.
 * @param display Ready display state.
 * @return None.
 */
static void clear_battery_icon(struct ef800_main_display *display)
{
	for (uint16_t x = 228U; x <= 234U; ++x) {
		for (uint16_t y = 1U; y <= 5U; ++y) {
			(void)ef800_t6963_write_pixel(display->lcd, x, y, false);
		}
	}
}

void ef800_main_display_battery_status(struct ef800_main_display *display,
	bool has_value, uint8_t soc_percent)
{
	if (display == NULL || !display->ready || display->lcd == NULL) {
		return;
	}
	if (has_value && display->last_battery_soc != soc_percent) {
		draw_battery_icon(display, soc_percent);
		display->last_battery_soc = soc_percent;
	} else if (!has_value && display->last_battery_soc != UINT8_MAX) {
		clear_battery_icon(display);
		display->last_battery_soc = UINT8_MAX;
	}
}

void ef800_main_display_menu(struct ef800_main_display *display,
			    const char *title, const char *workspace_label,
			    const char *const *items,
			    const char *const *shortcuts, size_t count,
			    size_t selection, const char *clock_text)
{
	char line[EF800_MAIN_DISPLAY_COLUMNS + 1U];

	if (display == NULL || items == NULL || shortcuts == NULL) {
		return;
	}
	ef800_main_display_clear(display, clock_text);
	ef800_main_display_line(display, 0U, title, clock_text);
	ef800_main_display_line(display, 1U,
		workspace_label == NULL ? "Workspace: none" : workspace_label,
		clock_text);
	ef800_main_display_line(display, 2U, "", clock_text);
	for (size_t index = 0U; index < 5U; ++index) {
		if (index < count) {
			(void)snprintf(line, sizeof(line), "%c %s [%s]",
				index == selection ? '>' : ' ', items[index],
				shortcuts[index]);
		} else {
			line[0] = '\0';
		}
		ef800_main_display_line(display, (uint8_t)(3U + index), line,
			clock_text);
	}
}

void ef800_main_display_list_page(struct ef800_main_display *display,
	const char *title, const char *subtitle,
	const char *const rows[4], size_t row_count, const char *footer,
	const char *clock_text)
{
	if (display == NULL || rows == NULL) {
		return;
	}
	ef800_main_display_clear(display, clock_text);
	ef800_main_display_line(display, 0U, title, clock_text);
	ef800_main_display_line(display, 1U, subtitle, clock_text);
	for (size_t row = 0U; row < 4U; ++row) {
		ef800_main_display_line(display, (uint8_t)(3U + row),
			row < row_count ? rows[row] : "", clock_text);
	}
	ef800_main_display_line(display, 7U, footer, clock_text);
}

void ef800_main_display_plugin_menu(struct ef800_main_display *display,
	const struct ef800_measurement_display *model, uint8_t port_id,
	const char *device_title, const char *clock_text)
{
	char line[EF800_MAIN_DISPLAY_COLUMNS + 1U];

	if (display == NULL || model == NULL) {
		return;
	}
	ef800_main_display_clear(display, clock_text);
	ef800_main_display_line(display, 0U, model->title, clock_text);
	(void)snprintf(line, sizeof(line), "Port %u: %s", port_id,
		device_title == NULL ? "assigned device" : device_title);
	ef800_main_display_line(display, 1U, line, clock_text);
	ef800_main_display_line(display, 2U, "Select action", clock_text);
	for (size_t index = 0U; index < model->row_count && index < 4U; ++index) {
		(void)snprintf(line, sizeof(line), "%c %s",
			index == model->selected_action ? '>' : ' ', model->rows[index]);
		ef800_main_display_line(display, (uint8_t)(3U + index), line,
			clock_text);
	}
	ef800_main_display_line(display, 7U, model->footer, clock_text);
}

void ef800_main_display_plugin_unavailable(struct ef800_main_display *display,
	bool show_header, bool working, const char *clock_text)
{
	if (display == NULL) {
		return;
	}
	ef800_main_display_clear(display, clock_text);
	if (show_header) {
		ef800_main_display_line(display, 0U, "Measurement plugin",
			clock_text);
	}
	ef800_main_display_line(display, 6U,
		working ? "Plugin working..." : "Plugin display unavailable",
		clock_text);
}

void ef800_main_display_workspace_view(struct ef800_main_display *display,
	const struct ef800_workspace_browser *browser, bool workspace_selected,
	const char *workspace_name, bool position_only, const char *clock_text)
{
	char line[EF800_MAIN_DISPLAY_COLUMNS + 1U];

	if (display == NULL || browser == NULL) {
		return;
	}
	ef800_main_display_clear(display, clock_text);
	ef800_main_display_line(display, 0U, position_only ? "Current Position" :
		"Show Measurements", clock_text);
	if (workspace_selected && workspace_name != NULL) {
		(void)snprintf(line, sizeof(line), "Workspace: %s", workspace_name);
	} else {
		(void)snprintf(line, sizeof(line), "Workspace: none");
	}
	ef800_main_display_line(display, 1U, line, clock_text);
	if (!browser->active) {
		ef800_main_display_line(display, 3U, browser->file_size == 0U ?
			"No workspace data" : "Workspace unavailable", clock_text);
		ef800_main_display_line(display, 7U, "ESC back", clock_text);
		return;
	}
	if (position_only) {
		ef800_main_display_line(display, 3U, browser->line_count == 0U ?
			"No position" : browser->lines[0], clock_text);
		ef800_main_display_line(display, 7U, "ESC back", clock_text);
		return;
	}
	for (size_t row = 0U; row < EF800_WORKSPACE_BROWSER_ROWS; ++row) {
		if (row >= browser->line_count) {
			ef800_main_display_line(display, (uint8_t)(3U + row), "",
				clock_text);
			continue;
		}
		line[0] = row == browser->selected_row ? '>' : ' ';
		line[1] = ' ';
		(void)snprintf(&line[2], sizeof(line) - 2U, "%.*s",
			(int)(EF800_WORKSPACE_BROWSER_COLUMNS - 2U),
			browser->lines[row]);
		ef800_main_display_line(display, (uint8_t)(3U + row), line,
			clock_text);
	}
	ef800_main_display_line(display, 7U,
		"UP/DOWN select ENTER actions", clock_text);
}

void ef800_main_display_workspace_row_confirmation(
	struct ef800_main_display *display, const char *selected_row,
	const char *clock_text)
{
	if (display == NULL) {
		return;
	}
	ef800_main_display_clear(display, clock_text);
	ef800_main_display_line(display, 0U, "Delete selected row?", clock_text);
	if (selected_row != NULL) {
		ef800_main_display_line(display, 2U, selected_row, clock_text);
	}
	ef800_main_display_line(display, 5U, "ENTER confirm delete", clock_text);
	ef800_main_display_line(display, 6U, "ESC cancel", clock_text);
}

void ef800_main_display_workspace_row_editor(struct ef800_main_display *display,
	struct ef800_workspace_row_editor *editor, const char *workspace_name,
	const char *clock_text)
{
	char line[EF800_MAIN_DISPLAY_COLUMNS + 1U];
	char caret_line[EF800_MAIN_DISPLAY_COLUMNS];
	const size_t view_width = EF800_MAIN_DISPLAY_COLUMNS - 1U;
	size_t visible_length;
	size_t caret_column;

	if (display == NULL || editor == NULL) {
		return;
	}
	if (editor->caret < editor->viewport_start) {
		editor->viewport_start = editor->caret;
	} else if (editor->caret > editor->viewport_start + view_width) {
		editor->viewport_start = editor->caret - view_width;
	}
	ef800_main_display_clear(display, clock_text);
	ef800_main_display_line(display, 0U, "Modify workspace row", clock_text);
	(void)snprintf(line, sizeof(line), "Workspace: %s",
		workspace_name == NULL ? "" : workspace_name);
	ef800_main_display_line(display, 1U, line, clock_text);
	ef800_main_display_line(display, 2U, editor->insert_mode ?
		"INSERT (INS toggles)" : "OVERWRITE (INS toggles)", clock_text);
	visible_length = editor->length > editor->viewport_start ?
		MIN(view_width, editor->length - editor->viewport_start) : 0U;
	if (visible_length != 0U) {
		memcpy(line, &editor->text[editor->viewport_start], visible_length);
	}
	line[visible_length] = '\0';
	ef800_main_display_line(display, 3U, line, clock_text);
	memset(caret_line, ' ', view_width);
	caret_column = editor->caret - editor->viewport_start;
	if (caret_column > view_width) {
		caret_column = view_width;
	}
	caret_line[caret_column] = '^';
	caret_line[view_width] = '\0';
	ef800_main_display_line(display, 4U, caret_line, clock_text);
	ef800_main_display_line(display, 6U, "BACKSPACE/DEL remove", clock_text);
	ef800_main_display_line(display, 7U, "ENTER save  ESC cancel",
		clock_text);
}
```
